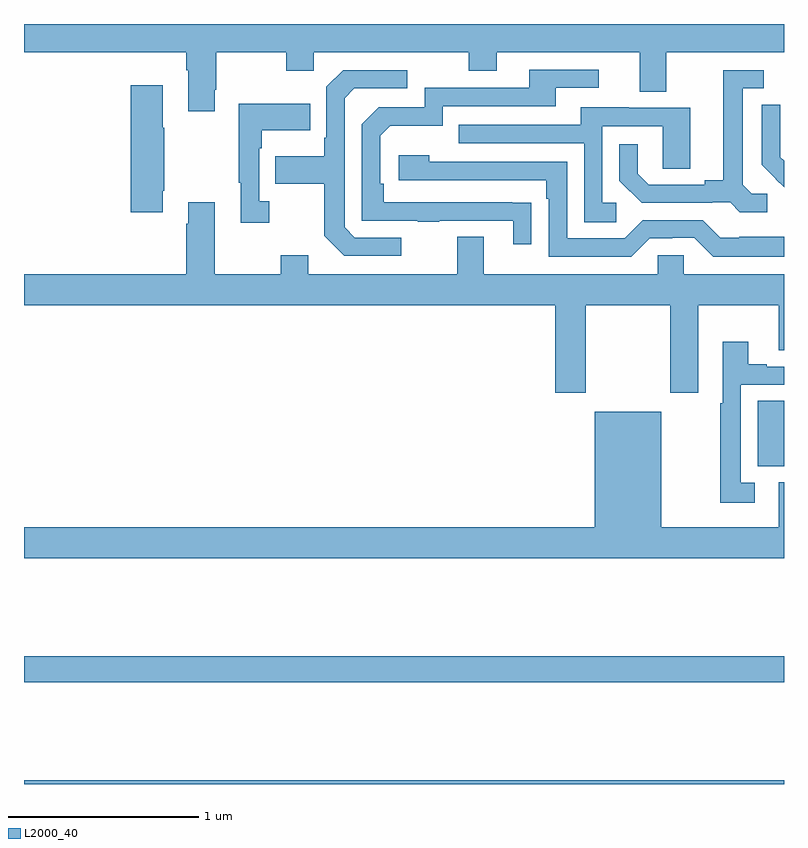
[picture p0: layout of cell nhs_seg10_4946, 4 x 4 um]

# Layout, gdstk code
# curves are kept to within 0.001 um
import gdstk
lib = gdstk.Library(unit=1e-6, precision=1e-09)
def R(c, l, rs):  # rectangles x0, y0, x1, y1
    for r in rs: c.add(gdstk.rectangle(r[:2], r[2:], *l))
def P(c, l, *ps):  # polygons
    for p in ps: c.add(gdstk.Polygon(p, *l))
L2000_40 = (2000, 40)

nhs_seg10_4946 = lib.new_cell('nhs_seg10_4946')
R(nhs_seg10_4946, L2000_40, [(397,1260.5,401,1260.52), (397,1261.036,401,1261.172), (400.862,1262.173,401,1262.516)])
P(nhs_seg10_4946, L2000_40, [(398.005,1264.153),(398.013,1264.153),(398.013,1264.352),(398.38,1264.352),(398.38,1264.253),(398.526,1264.253),(398.526,1264.352),(399.34,1264.352),(399.34,1264.253),(399.487,1264.253),(399.487,1264.352),(400.241,1264.352),(400.241,1264.144),(400.381,1264.144),(400.381,1264.352),(401,1264.352),(401,1264.5),(397,1264.5),(397,1264.352),(397.853,1264.352),(397.853,1264.256),(397.865,1264.256),(397.865,1264.041),(398.005,1264.041)],
  [(399.671,1263.56),(398.894,1263.561),(398.894,1263.658),(398.874,1263.658),(398.874,1263.912),(398.927,1263.965),(399.204,1263.965),(399.204,1264.068),(399.799,1264.068),(399.799,1264.164),(400.024,1264.164),(400.024,1264.26),(399.659,1264.26),(399.659,1264.164),(399.108,1264.164),(399.108,1264.062),(398.868,1264.062),(398.778,1263.972),(398.778,1263.465),(399.073,1263.465),(399.073,1263.46),(399.185,1263.46),(399.185,1263.465),(399.575,1263.465),(399.575,1263.342),(399.671,1263.342)],
  [(398.986,1263.375),(398.742,1263.375),(398.688,1263.429),(398.688,1264.11),(398.739,1264.161),(399.016,1264.161),(399.016,1264.257),(398.679,1264.257),(398.592,1264.17),(398.592,1263.901),(398.58,1263.901),(398.58,1263.805),(398.323,1263.805),(398.323,1263.658),(398.58,1263.658),(398.58,1263.385),(398.685,1263.279),(398.986,1263.279)],
  [(400.912,1263.606),(400.83,1263.606),(400.783,1263.653),(400.783,1264.161),(400.894,1264.161),(400.894,1264.257),(400.679,1264.257),(400.679,1263.677),(400.583,1263.677),(400.583,1263.654),(400.288,1263.654),(400.231,1263.711),(400.231,1263.868),(400.134,1263.868),(400.134,1263.674),(400.25,1263.558),(400.622,1263.558),(400.622,1263.561),(400.716,1263.561),(400.768,1263.509),(400.912,1263.509)],
  [(397.729,1263.622),(397.737,1263.622),(397.737,1263.953),(397.729,1263.953),(397.729,1264.177),(397.562,1264.177),(397.562,1263.51),(397.729,1263.51)],
  [(398.29,1263.566),(398.238,1263.566),(398.238,1263.845),(398.251,1263.845),(398.251,1263.941),(398.507,1263.941),(398.507,1264.081),(398.13,1264.081),(398.13,1263.665),(398.141,1263.665),(398.141,1263.453),(398.29,1263.453)],
  [(401,1263.779),(400.979,1263.8),(400.979,1263.922),(400.98,1263.922),(400.98,1264.076),(400.884,1264.076),(400.884,1263.758),(400.957,1263.685),(400.956,1263.684),(401,1263.64)],
  [(400.117,1263.558),(400.044,1263.558),(400.044,1263.963),(400.362,1263.963),(400.362,1263.739),(400.507,1263.739),(400.507,1264.059),(400.183,1264.059),(400.183,1264.063),(399.929,1264.063),(399.929,1263.969),(399.289,1263.969),(399.289,1263.873),(399.948,1263.873),(399.948,1263.457),(400.117,1263.457)],
  [(401,1263.379),(400.765,1263.379),(400.765,1263.375),(400.665,1263.375),(400.572,1263.468),(400.257,1263.468),(400.161,1263.372),(399.858,1263.372),(399.858,1263.774),(399.134,1263.774),(399.134,1263.808),(398.973,1263.808),(398.973,1263.678),(399.749,1263.678),(399.749,1263.581),(399.762,1263.581),(399.762,1263.276),(400.197,1263.276),(400.293,1263.372),(400.412,1263.372),(400.412,1263.375),(400.527,1263.375),(400.627,1263.275),(401,1263.275)],
  [(399.957,1263.02),(400.402,1263.02),(400.402,1262.559),(400.549,1262.559),(400.549,1263.02),(400.973,1263.02),(400.973,1262.782),(401,1262.782),(401,1263.184),(400.473,1263.184),(400.473,1263.282),(400.335,1263.282),(400.335,1263.184),(399.421,1263.184),(399.421,1263.379),(399.281,1263.379),(399.281,1263.184),(398.497,1263.184),(398.497,1263.283),(398.35,1263.283),(398.35,1263.184),(398.005,1263.184),(398.005,1263.562),(397.865,1263.562),(397.865,1263.449),(397.853,1263.449),(397.853,1263.184),(397,1263.184),(397,1263.02),(399.797,1263.02),(399.797,1262.559),(399.957,1262.559)],
  [(400.846,1262.085),(400.773,1262.085),(400.773,1262.601),(401,1262.601),(401,1262.697),(400.909,1262.697),(400.909,1262.71),(400.813,1262.71),(400.813,1262.827),(400.677,1262.827),(400.677,1262.504),(400.665,1262.504),(400.665,1261.98),(400.846,1261.98)],
  [(401,1262.088),(400.973,1262.088),(400.973,1261.852),(400.354,1261.852),(400.354,1262.458),(400.004,1262.458),(400.004,1261.852),(397,1261.852),(397,1261.688),(401,1261.688)])

lib.write_gds('nhs_seg10_4946.gds')
